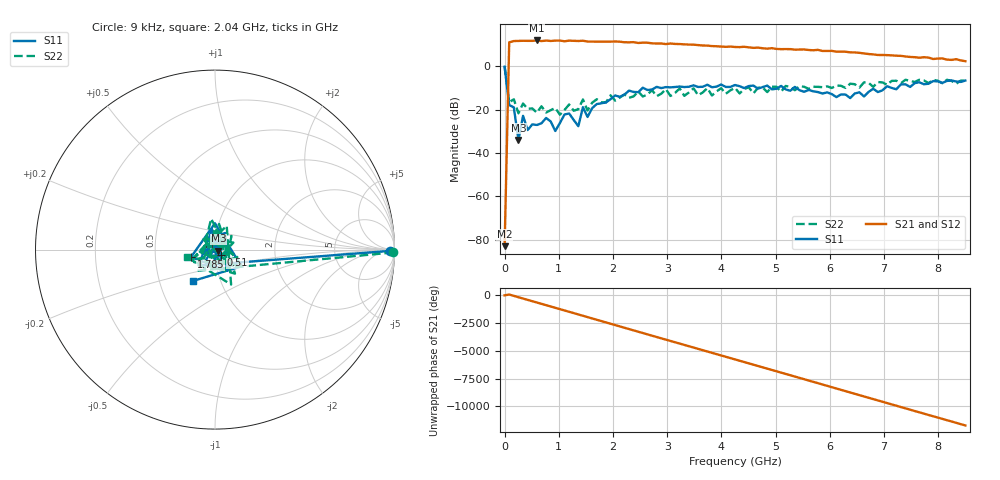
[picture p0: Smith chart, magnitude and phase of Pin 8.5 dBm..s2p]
! RsaToolbox (C) 2013 Rohde & Schwarz America
! Number of points: 101
! Number of ports: 2
! Balanced ports?: 0
# Hz S RI R 50
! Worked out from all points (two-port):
!   101 points, 9 kHz to 8.5 GHz, reference 50 ohm
!   highest |S21| = 11.90 dB at 595 MHz (marker M1); lowest = -82.9 dB at 9 kHz (marker M2)
!   |S21| within 3 dB of the highest: 83.07 MHz to 4.246 GHz (4.163 GHz wide, 192 % of centre); 4.371 GHz to 4.449 GHz (77.74 MHz wide, 1.76 % of centre)
!   lowest |S11| = -33.9 dB at 255 MHz (marker M3), VSWR 1.04, Z = 51.9 - j0.707 ohm
!   |S11| at or under -10 dB: 47.15 MHz to 2.545 GHz (2.498 GHz wide, 193 % of centre); 2.559 GHz to 2.769 GHz (210.2 MHz wide, 7.89 % of centre); 5.383 GHz to 7.019 GHz (1.635 GHz wide, 26.4 % of centre) (the widest 3 of 9)
!   |S22| runs from -22.3 to -0.1 dB; largest |S21 - S12| = 0
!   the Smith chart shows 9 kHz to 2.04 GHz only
!   S11 on the Smith chart (normalised r, x): 9 kHz: 79, -25; 510 MHz: 1.07, -0.07; 1.785 GHz: 0.76, -0.07; 2.04 GHz: 0.74, -0.27
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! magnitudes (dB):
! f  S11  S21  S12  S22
! 9 kHz  -0.2  -82.9  -82.9  -0.1
! 85.01 MHz  -17.9  11.0  11.0  -16.5
! 170 MHz  -18.9  11.6  11.6  -15.2
! 255 MHz  -33.9  11.7  11.7  -21.7
! 340 MHz  -22.8  11.7  11.7  -17.2
! 425 MHz  -29.4  11.7  11.7  -19.6
! 510 MHz  -26.8  11.7  11.7  -19.4
! 595 MHz  -27.0  11.9  11.9  -21.4
! 765 MHz  -23.8  11.9  11.9  -21.3
! 935 MHz  -29.8  11.8  11.8  -19.2
! 1.19 GHz  -21.7  11.8  11.8  -17.6
! 1.36 GHz  -27.6  11.6  11.6  -19.8
! 1.445 GHz  -18.8  11.8  11.8  -15.3
! 1.53 GHz  -23.4  11.4  11.4  -20.4
! 1.785 GHz  -17.1  11.4  11.4  -16.6
! 2.04 GHz  -13.5  11.4  11.4  -15.8
! 2.89 GHz  -10.1  10.5  10.5  -12.6
! 4.25 GHz  -8.6  8.9  8.9  -9.9
! 5.695 GHz  -11.6  7.4  7.4  -9.4
! 6.375 GHz  -14.6  6.4  6.4  -8.0
! 7.14 GHz  -10.0  5.0  5.0  -6.7
! 8.5 GHz  -6.6  2.3  2.3  -6.7
